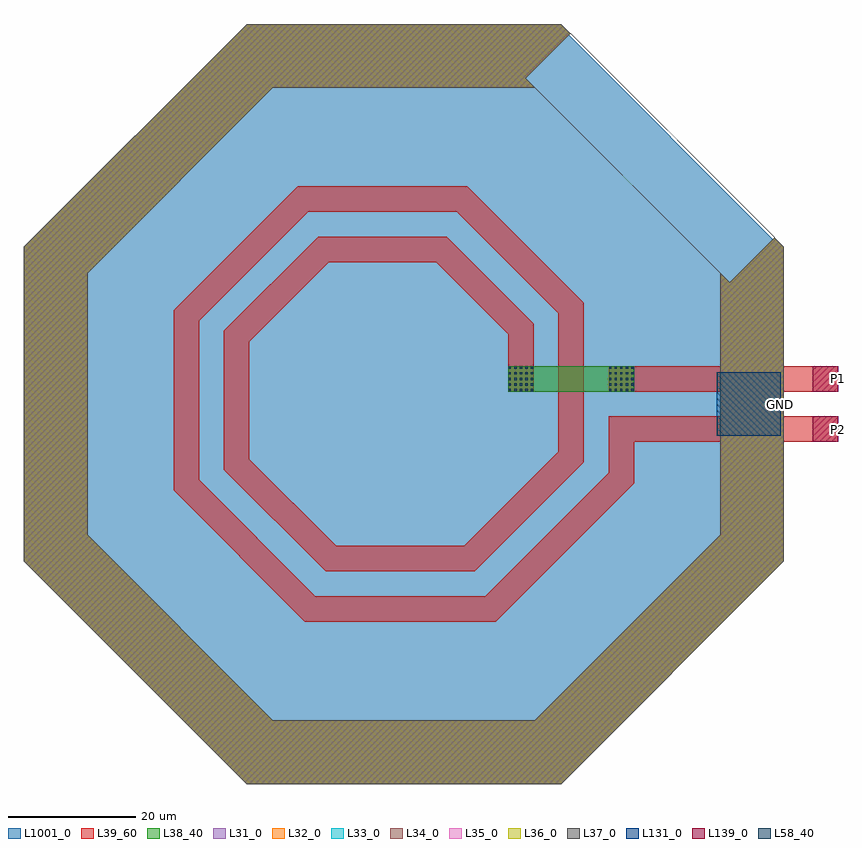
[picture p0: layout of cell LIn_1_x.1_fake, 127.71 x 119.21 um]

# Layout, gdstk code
import gdstk
lib = gdstk.Library(unit=1e-6, precision=1e-09)
def R(c, l, rs):  # rectangles x0, y0, x1, y1
    for r in rs: c.add(gdstk.rectangle(r[:2], r[2:], *l))
def A(c, l, x, y, w, h, nx, ny, dx, dy):  # array of equal rectangles
    R(c, l, [(x+i*dx, y+j*dy, x+i*dx+w, y+j*dy+h) for i in range(nx) for j in range(ny)])
def P(c, l, *ps):  # polygons
    for p in ps: c.add(gdstk.Polygon(p, *l))
L31_0 = (31, 0)
L32_0 = (32, 0)
L33_0 = (33, 0)
L34_0 = (34, 0)
L35_0 = (35, 0)
L36_0 = (36, 0)
L37_0 = (37, 0)
L38_40 = (38, 40)
L39_60 = (39, 60)
L58_40 = (58, 40)
L131_0 = (131, 0)
L139_0 = (139, 0)
L1001_0 = (1001, 0)

lin_1_x_1_fake = lib.new_cell('LIn_1_x.1_fake')
P(lin_1_x_1_fake, L31_0, [(51.072,19.084),(58.143,26.155),(24.69,59.607),(-24.69,59.607),(-59.607,24.69),(-59.607,-24.69),(-24.69,-59.607),(24.69,-59.607),(59.607,-24.69),(59.607,24.69),(26.155,58.143),(19.084,51.072),(49.607,20.548),(49.607,-20.548),(20.548,-49.607),(-20.548,-49.607),(-49.607,-20.548),(-49.607,20.548),(-20.548,49.607),(20.548,49.607)])
P(lin_1_x_1_fake, L32_0, [(51.072,19.084),(58.143,26.155),(24.69,59.607),(-24.69,59.607),(-59.607,24.69),(-59.607,-24.69),(-24.69,-59.607),(24.69,-59.607),(59.607,-24.69),(59.607,24.69),(26.155,58.143),(19.084,51.072),(49.607,20.548),(49.607,-20.548),(20.548,-49.607),(-20.548,-49.607),(-49.607,-20.548),(-49.607,20.548),(-20.548,49.607),(20.548,49.607)])
P(lin_1_x_1_fake, L33_0, [(51.072,19.084),(58.143,26.155),(24.69,59.607),(-24.69,59.607),(-59.607,24.69),(-59.607,-24.69),(-24.69,-59.607),(24.69,-59.607),(59.607,-24.69),(59.607,24.69),(26.155,58.143),(19.084,51.072),(49.607,20.548),(49.607,-20.548),(20.548,-49.607),(-20.548,-49.607),(-49.607,-20.548),(-49.607,20.548),(-20.548,49.607),(20.548,49.607)])
P(lin_1_x_1_fake, L34_0, [(51.072,19.084),(58.143,26.155),(24.69,59.607),(-24.69,59.607),(-59.607,24.69),(-59.607,-24.69),(-24.69,-59.607),(24.69,-59.607),(59.607,-24.69),(59.607,24.69),(26.155,58.143),(19.084,51.072),(49.607,20.548),(49.607,-20.548),(20.548,-49.607),(-20.548,-49.607),(-49.607,-20.548),(-49.607,20.548),(-20.548,49.607),(20.548,49.607)])
P(lin_1_x_1_fake, L35_0, [(51.072,19.084),(58.143,26.155),(24.69,59.607),(-24.69,59.607),(-59.607,24.69),(-59.607,-24.69),(-24.69,-59.607),(24.69,-59.607),(59.607,-24.69),(59.607,24.69),(26.155,58.143),(19.084,51.072),(49.607,20.548),(49.607,-20.548),(20.548,-49.607),(-20.548,-49.607),(-49.607,-20.548),(-49.607,20.548),(-20.548,49.607),(20.548,49.607)])
P(lin_1_x_1_fake, L36_0, [(51.072,19.084),(58.143,26.155),(24.69,59.607),(-24.69,59.607),(-59.607,24.69),(-59.607,-24.69),(-24.69,-59.607),(24.69,-59.607),(59.607,-24.69),(59.607,24.69),(26.155,58.143),(19.084,51.072),(49.607,20.548),(49.607,-20.548),(20.548,-49.607),(-20.548,-49.607),(-49.607,-20.548),(-49.607,20.548),(-20.548,49.607),(20.548,49.607)])
P(lin_1_x_1_fake, L37_0, [(51.072,19.084),(58.143,26.155),(24.69,59.607),(-24.69,59.607),(-59.607,24.69),(-59.607,-24.69),(-24.69,-59.607),(24.69,-59.607),(59.607,-24.69),(59.607,24.69),(26.155,58.143),(19.084,51.072),(49.607,20.548),(49.607,-20.548),(20.548,-49.607),(-20.548,-49.607),(-49.607,-20.548),(-49.607,20.548),(-20.548,49.607),(20.548,49.607)])
R(lin_1_x_1_fake, L38_40, [(16.355,1.94,36.105,5.94)])
P(lin_1_x_1_fake, L38_40, [(51.072,19.084),(58.143,26.155),(24.69,59.607),(-24.69,59.607),(-59.607,24.69),(-59.607,-24.69),(-24.69,-59.607),(24.69,-59.607),(59.607,-24.69),(59.607,24.69),(26.155,58.143),(19.084,51.072),(49.607,20.548),(49.607,-20.548),(20.548,-49.607),(-20.548,-49.607),(-49.607,-20.548),(-49.607,20.548),(-20.548,49.607),(20.548,49.607)])
R(lin_1_x_1_fake, L39_60, [(32.105,-5.94,68.105,-1.94), (32.105,1.94,68.105,5.94)])
P(lin_1_x_1_fake, L39_60, [(16.355,1.94),(20.355,1.94),(20.355,12.608),(6.704,26.265),(-13.424,26.265),(-28.23,11.453),(-28.23,-10.303),(-12.268,-26.265),(11.119,-26.265),(28.23,-9.148),(28.23,15.868),(9.964,34.14),(-16.683,34.14),(-36.105,14.718),(-36.105,-13.563),(-15.534,-34.14),(14.379,-34.14),(36.105,-12.408),(36.105,-3.94),(32.105,-3.94),(32.105,-10.752),(12.721,-30.14),(-13.876,-30.14),(-32.105,-11.907),(-32.105,13.062),(-15.027,30.14),(8.306,30.14),(24.23,14.212),(24.23,-7.492),(9.461,-22.265),(-10.612,-22.265),(-24.23,-8.647),(-24.23,9.797),(-11.766,22.265),(5.046,22.265),(16.355,10.952)],
  [(51.072,19.084),(58.143,26.155),(24.69,59.607),(-24.69,59.607),(-59.607,24.69),(-59.607,-24.69),(-24.69,-59.607),(24.69,-59.607),(59.607,-24.69),(59.607,24.69),(26.155,58.143),(19.084,51.072),(49.607,20.548),(49.607,-20.548),(20.548,-49.607),(-20.548,-49.607),(-49.607,-20.548),(-49.607,20.548),(-20.548,49.607),(20.548,49.607)])
A(lin_1_x_1_fake, L58_40, 16.442, 2.022, 0.35, 0.35, 5, 5, 0.87, 0.87)
A(lin_1_x_1_fake, L58_40, 32.192, 2.022, 0.35, 0.35, 5, 5, 0.87, 0.87)
R(lin_1_x_1_fake, L131_0, [(49.105,-5,59.105,5)])
R(lin_1_x_1_fake, L139_0, [(64.105,-5.94,68.105,-1.94), (64.105,1.94,68.105,5.94)])
P(lin_1_x_1_fake, L1001_0, [(59.227,24.533),(24.533,59.227),(-24.533,59.227),(-59.227,24.533),(-59.227,-24.533),(-24.533,-59.227),(24.533,-59.227),(59.227,-24.533)],
  [(59.227,24.533),(24.533,59.227),(-24.533,59.227),(-59.227,24.533),(-59.227,-24.533),(-24.533,-59.227),(24.533,-59.227),(59.227,-24.533)],
  [(59.227,24.533),(24.533,59.227),(-24.533,59.227),(-59.227,24.533),(-59.227,-24.533),(-24.533,-59.227),(24.533,-59.227),(59.227,-24.533)],
  [(59.227,24.533),(24.533,59.227),(-24.533,59.227),(-59.227,24.533),(-59.227,-24.533),(-24.533,-59.227),(24.533,-59.227),(59.227,-24.533)],
  [(59.227,24.533),(24.533,59.227),(-24.533,59.227),(-59.227,24.533),(-59.227,-24.533),(-24.533,-59.227),(24.533,-59.227),(59.227,-24.533)],
  [(59.227,24.533),(24.533,59.227),(-24.533,59.227),(-59.227,24.533),(-59.227,-24.533),(-24.533,-59.227),(24.533,-59.227),(59.227,-24.533)],
  [(59.227,24.533),(24.533,59.227),(-24.533,59.227),(-59.227,24.533),(-59.227,-24.533),(-24.533,-59.227),(24.533,-59.227),(59.227,-24.533)],
  [(59.227,24.533),(24.533,59.227),(-24.533,59.227),(-59.227,24.533),(-59.227,-24.533),(-24.533,-59.227),(24.533,-59.227),(59.227,-24.533)],
  [(59.227,24.533),(24.533,59.227),(-24.533,59.227),(-59.227,24.533),(-59.227,-24.533),(-24.533,-59.227),(24.533,-59.227),(59.227,-24.533)])
lin_1_x_1_fake.add(gdstk.Label('P1', (68.107,3.937), layer=139, texttype=0))
lin_1_x_1_fake.add(gdstk.Label('P2', (68.107,-3.937), layer=139, texttype=0))
lin_1_x_1_fake.add(gdstk.Label('GND', (59.107,0), layer=131, texttype=0))

lib.write_gds('LIn_1_x.1_fake.gds')
